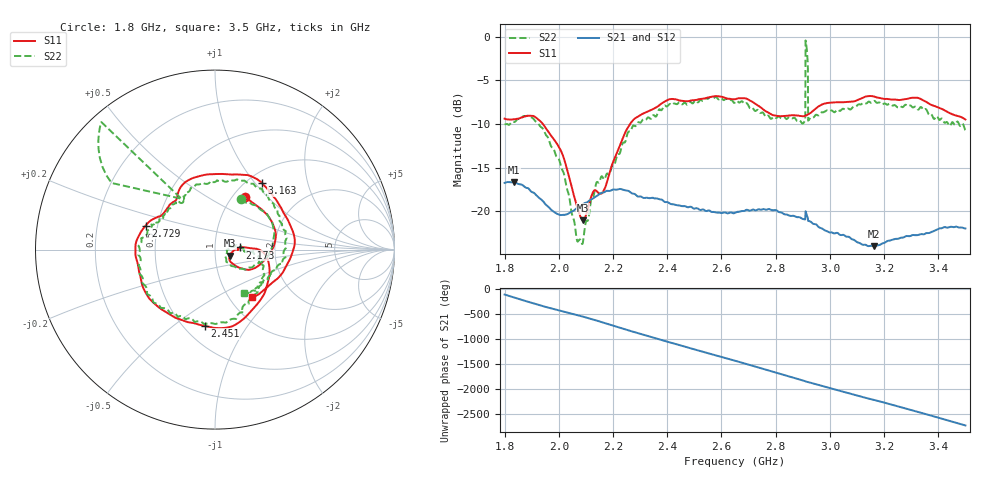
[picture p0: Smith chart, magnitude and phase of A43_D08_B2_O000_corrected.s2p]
! Created with skrf 1.9.0 (http://scikit-rf.org).
# Hz S RI R 50.0
!freq ReS11 ImS11 ReS21 ImS21 ReS12 ImS12 ReS22 ImS22
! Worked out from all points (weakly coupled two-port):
!   1601 points, 1.8 GHz to 3.5 GHz, reference 50 ohm
!   highest |S21| = -16.66 dB at 1.833 GHz (marker M1); lowest = -24.0 dB at 3.161 GHz (marker M2)
!   lowest |S11| = -21.0 dB at 2.09 GHz (marker M3), VSWR 1.19, Z = 58.8 - j3.92 ohm
!   |S11| at or under -10 dB: 1.941 GHz to 2.263 GHz (321.9 MHz wide, 15.3 % of centre)
!   |S22| runs from -23.8 to -0.4 dB; largest |S21 - S12| = 0.0028
!   S11 on the Smith chart (normalised r, x): 1.8 GHz: 1.13, +0.75; 2.173 GHz: 1.32, +0.03; 2.451 GHz: 0.63, -0.66; 2.729 GHz: 0.43, +0.14; 3.163 GHz: 1.16, +1.09; 3.5 GHz: 1.27, -0.75
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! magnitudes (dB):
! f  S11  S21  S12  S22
! 1.8 GHz  -9.4  -16.8  -16.8  -10.1
! 1.833 GHz  -9.5  -16.7  -16.6  -9.8
! 1.951 GHz  -10.4  -19.2  -19.2  -11.2
! 2.013 GHz  -13.4  -20.4  -20.4  -15.3
! 2.084 GHz  -20.9  -19.3  -19.3  -23.6
! 2.09 GHz  -21.0  -19.2  -19.2  -23.3
! 2.137 GHz  -17.6  -18.3  -18.3  -16.9
! 2.173 GHz  -17.1  -17.7  -17.8  -16.0
! 2.262 GHz  -10.0  -17.8  -17.8  -10.9
! 2.367 GHz  -7.9  -18.6  -18.6  -8.5
! 2.451 GHz  -7.3  -19.4  -19.4  -7.7
! 2.65 GHz  -7.2  -20.2  -20.2  -7.5
! 2.729 GHz  -7.8  -19.9  -19.9  -8.5
! 2.901 GHz  -9.1  -20.9  -20.9  -10.0
! 2.91 GHz  -9.0  -20.0  -20.0  -0.4
! 2.919 GHz  -8.9  -20.8  -20.8  -3.3
! 2.928 GHz  -8.7  -21.2  -21.2  -9.3
! 2.934 GHz  -8.6  -21.3  -21.3  -9.3
! 3.161 GHz  -6.8  -24.0  -24.0  -7.4
! 3.163 GHz  -6.8  -24.0  -24.0  -7.4
! 3.217 GHz  -7.2  -23.4  -23.4  -7.7
! 3.5 GHz  -9.5  -22.0  -22.0  -10.7
